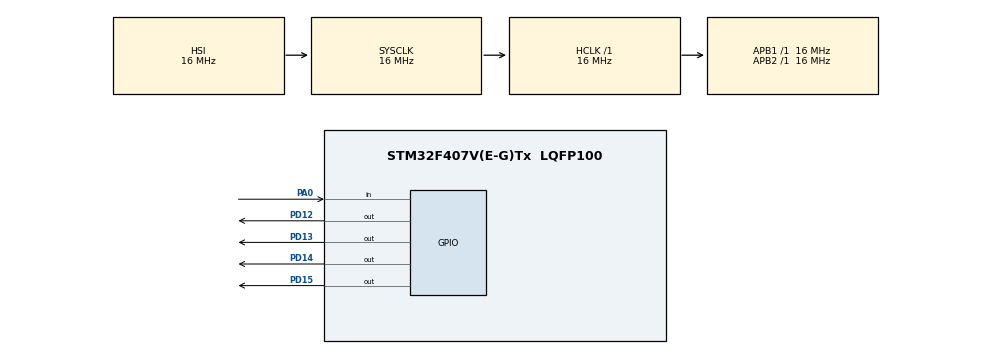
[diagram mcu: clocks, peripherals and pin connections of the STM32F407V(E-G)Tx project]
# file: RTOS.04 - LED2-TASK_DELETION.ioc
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Mcu.Family=STM32F4
Mcu.Name=STM32F407V(E-G)Tx
Mcu.Package=LQFP100
NVIC.PriorityGroup=NVIC_PRIORITYGROUP_4
NVIC.TIM6_DAC_IRQn=true\:15\:0\:false\:false\:true\:false\:true
NVIC.TimeBase=TIM6_DAC_IRQn
NVIC.TimeBaseIP=TIM6
PA0-WKUP.Signal=GPIO_Input
PD12.Signal=GPIO_Output
PD13.Signal=GPIO_Output
PD14.Signal=GPIO_Output
PD15.Signal=GPIO_Output
ProjectManager.HeapSize=0x200
ProjectManager.StackSize=0x400
ProjectManager.TargetToolchain=STM32CubeIDE
RCC.AHBFreq_Value=16000000
RCC.APB1Freq_Value=16000000
RCC.APB2Freq_Value=16000000
RCC.CortexFreq_Value=16000000
RCC.HSE_VALUE=25000000
RCC.HSI_VALUE=16000000
RCC.LSE_VALUE=32768
RCC.SYSCLKFreq_VALUE=16000000
RCC.VCOOutputFreq_Value=192000000
VP_SYS_VS_tim6.Mode=TIM6
board=custom

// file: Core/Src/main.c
/* USER CODE BEGIN Header */
/**
  ******************************************************************************
  * @file           : main.c
  * @brief          : Main program body
  ******************************************************************************
  * @attention
  *
  * Copyright (c) 2022 STMicroelectronics.
  * All rights reserved.
  *
  * This software is licensed under terms that can be found in the LICENSE file
  * in the root directory of this software component.
  * If no LICENSE file comes with this software, it is provided AS-IS.
  *
  ******************************************************************************
  */
/* USER CODE END Header */
#include "main.h"

/* USER CODE BEGIN Includes */
#include <stdio.h>
#include "FreeRTOS.h"
#include "task.h"
/* USER CODE END Includes */

/* USER CODE BEGIN PV */
#define DWT_CTRL (*(volatile uint32_t*) 0xE0001000)
/* USER CODE END Includes */

/* Private typedef -----------------------------------------------------------*/
/* USER CODE BEGIN PTD */

/* USER CODE END PTD */

/* Private define ------------------------------------------------------------*/
/* USER CODE BEGIN PD */
/* USER CODE END PD */

/* Private macro -------------------------------------------------------------*/
/* USER CODE BEGIN PM */

/* USER CODE END PM */

/* Private variables ---------------------------------------------------------*/

/* USER CODE BEGIN PV */

/* USER CODE END PV */

void SystemClock_Config(void);
static void MX_GPIO_Init(void);
/* USER CODE BEGIN PFP */
static void task_green_handler(void*  parameters);
static void task_red_handler(void*  parameters);
static void task_blue_handler(void*  parameters);
static void task_button_handler(void* parameters);
/* USER CODE END PFP */

/* USER CODE BEGIN 0 */
TaskHandle_t ledg_handle;
TaskHandle_t ledr_handle;
TaskHandle_t ledb_handle;
TaskHandle_t btn_handle;

BaseType_t status;
TaskHandle_t volatile next_task_handle;
/* USER CODE END 0 */

int main(void)
{

  /* MCU Configuration--------------------------------------------------------*/

  /* Reset of all peripherals, Initializes the Flash interface and the Systick. */
  HAL_Init();

  /* Configure the system clock */
  SystemClock_Config();

  /* Initialize all configured peripherals */
  MX_GPIO_Init();
  /* USER CODE BEGIN 2 */
  //cyclic counter
  DWT_CTRL |= (1<<0);

  SEGGER_SYSVIEW_Conf();

  status = xTaskCreate(task_green_handler, "LED_Green", 200, NULL, 3, &ledg_handle);
  configASSERT(status == pdPASS);

  status = xTaskCreate(task_red_handler, "LED_Red", 200, NULL, 2, &ledr_handle);
  configASSERT(status == pdPASS);

  status = xTaskCreate(task_blue_handler, "LED_Blue", 200, NULL, 1, &ledb_handle);
  configASSERT(status == pdPASS);

  status = xTaskCreate(task_button_handler, "LED_Blue", 200, NULL, 4, &btn_handle);
  configASSERT(status == pdPASS);

  //start freertos scheduler
  vTaskStartScheduler();
  /* USER CODE END 2 */

  /* Infinite loop */
  while (1)
  {

  }
}

void SystemClock_Config(void)
{
  RCC_OscInitTypeDef RCC_OscInitStruct = {0};
  RCC_ClkInitTypeDef RCC_ClkInitStruct = {0};

  /** Configure the main internal regulator output voltage
  */
  __HAL_RCC_PWR_CLK_ENABLE();
  __HAL_PWR_VOLTAGESCALING_CONFIG(PWR_REGULATOR_VOLTAGE_SCALE1);
  /** Initializes the RCC Oscillators according to the specified parameters
  * in the RCC_OscInitTypeDef structure.
  */
  RCC_OscInitStruct.OscillatorType = RCC_OSCILLATORTYPE_HSI;
  RCC_OscInitStruct.HSIState = RCC_HSI_ON;
  RCC_OscInitStruct.HSICalibrationValue = RCC_HSICALIBRATION_DEFAULT;
  RCC_OscInitStruct.PLL.PLLState = RCC_PLL_NONE;
  if (HAL_RCC_OscConfig(&RCC_OscInitStruct) != HAL_OK)
  {
    Error_Handler();
  }
  /** Initializes the CPU, AHB and APB buses clocks
  */
  RCC_ClkInitStruct.ClockType = RCC_CLOCKTYPE_HCLK|RCC_CLOCKTYPE_SYSCLK
                              |RCC_CLOCKTYPE_PCLK1|RCC_CLOCKTYPE_PCLK2;
  RCC_ClkInitStruct.SYSCLKSource = RCC_SYSCLKSOURCE_HSI;
  RCC_ClkInitStruct.AHBCLKDivider = RCC_SYSCLK_DIV1;
  RCC_ClkInitStruct.APB1CLKDivider = RCC_HCLK_DIV1;
  RCC_ClkInitStruct.APB2CLKDivider = RCC_HCLK_DIV1;

  if (HAL_RCC_ClockConfig(&RCC_ClkInitStruct, FLASH_LATENCY_0) != HAL_OK)
  {
    Error_Handler();
  }
}

static void MX_GPIO_Init(void)
{
  GPIO_InitTypeDef GPIO_InitStruct = {0};

  /* GPIO Ports Clock Enable */
  __HAL_RCC_GPIOA_CLK_ENABLE();
  __HAL_RCC_GPIOD_CLK_ENABLE();

  /*Configure GPIO pin Output Level */
  HAL_GPIO_WritePin(GPIOD, GPIO_PIN_12|GPIO_PIN_13|GPIO_PIN_14|GPIO_PIN_15, GPIO_PIN_RESET);

  /*Configure GPIO pin : PA0 */
  GPIO_InitStruct.Pin = GPIO_PIN_0;
  GPIO_InitStruct.Mode = GPIO_MODE_INPUT;
  GPIO_InitStruct.Pull = GPIO_NOPULL;
  HAL_GPIO_Init(GPIOA, &GPIO_InitStruct);

  /*Configure GPIO pins : PD12 PD13 PD14 PD15 */
  GPIO_InitStruct.Pin = GPIO_PIN_12|GPIO_PIN_13|GPIO_PIN_14|GPIO_PIN_15;
  GPIO_InitStruct.Mode = GPIO_MODE_OUTPUT_PP;
  GPIO_InitStruct.Pull = GPIO_NOPULL;
  GPIO_InitStruct.Speed = GPIO_SPEED_FREQ_LOW;
  HAL_GPIO_Init(GPIOD, &GPIO_InitStruct);

}

/* USER CODE BEGIN 4 */
static void task_green_handler(void* parameters)
{
	while(1)
	{
		SEGGER_SYSVIEW_PrintfTarget("Toggling L G");
		HAL_GPIO_TogglePin(GPIOD, 12);
		status = xTaskNotifyWait(0,0,NULL,pdMS_TO_TICKS(1000));
		if(status == pdTRUE)
		{
			vTaskSuspendAll();
			next_task_handle = ledr_handle;
			xTaskResumeAll();
			HAL_GPIO_WritePin(GPIOD, 12,GPIO_PIN_SET);
			SEGGER_SYSVIEW_PrintfTarget("Deleted L G");
			vTaskDelete(NULL);
		}

	}
}

static void task_red_handler(void* parameters)
{
	while(1)
	{
		SEGGER_SYSVIEW_PrintfTarget("Toggling L R");
		HAL_GPIO_TogglePin(GPIOD, 13);
		status = xTaskNotifyWait(0,0,NULL,pdMS_TO_TICKS(800));
		if(status == pdTRUE)
		{
			vTaskSuspendAll();
			next_task_handle = ledb_handle;
			xTaskResumeAll();
			HAL_GPIO_WritePin(GPIOD, 14,GPIO_PIN_SET);
			SEGGER_SYSVIEW_PrintfTarget("Deleted L R");
			vTaskDelete(NULL);
		}

	}
}

static void task_blue_handler(void* parameters)
{
	while(1)
	{
		SEGGER_SYSVIEW_PrintfTarget("Toggling L B");
		HAL_GPIO_TogglePin(GPIOD, 14);
		status = xTaskNotifyWait(0,0,NULL,pdMS_TO_TICKS(400));

		if(status == pdTRUE)
		{
			vTaskSuspendAll();
			next_task_handle = NULL;
			xTaskResumeAll();
			HAL_GPIO_WritePin(GPIOD, 14,GPIO_PIN_SET);
			SEGGER_SYSVIEW_PrintfTarget("Deleted L B");
			vTaskDelete(btn_handle);
			vTaskDelete(NULL);
		}

	}
}

static void task_button_handler(void* parameters)
{

	uint8_t btn_read = 0;
	uint8_t prev_read = 0;

	while(1)
	{
		btn_read = HAL_GPIO_ReadPin(GPIOA, GPIO_PIN_0);

			if(btn_read)
			{
				if(!prev_read)
					{
						xTaskNotify(next_task_handle,0,eNoAction);
					}
			}
			prev_read = btn_read;
			vTaskDelay(pdMS_TO_TICKS(10));
		}
}

/* USER CODE END 4 */

void HAL_TIM_PeriodElapsedCallback(TIM_HandleTypeDef *htim)
{
  if (htim->Instance == TIM6) {
    HAL_IncTick();
  }
}

void Error_Handler(void)
{
  __disable_irq();
  while (1)
  {
  }
}
